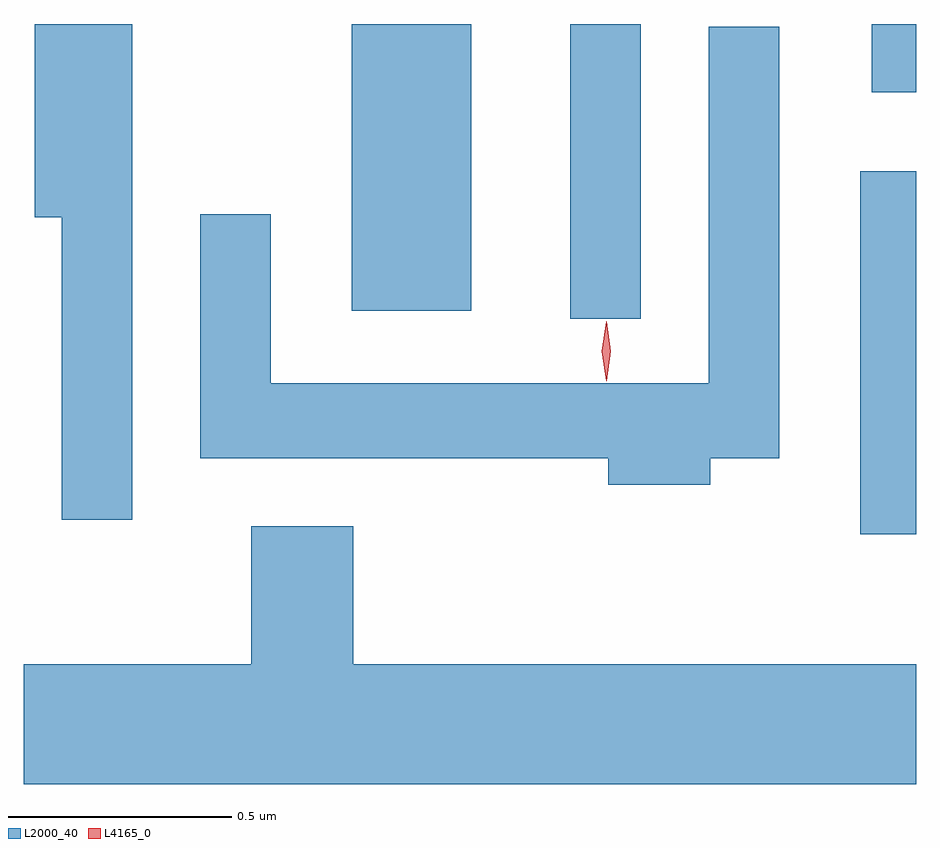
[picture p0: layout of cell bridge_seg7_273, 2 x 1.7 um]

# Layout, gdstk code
import gdstk
lib = gdstk.Library(unit=1e-6, precision=1e-09)
def R(c, l, rs):  # rectangles x0, y0, x1, y1
    for r in rs: c.add(gdstk.rectangle(r[:2], r[2:], *l))
def P(c, l, *ps):  # polygons
    for p in ps: c.add(gdstk.Polygon(p, *l))
L2000_40 = (2000, 40)
L4165_0 = (4165, 0)

bridge_seg7_273 = lib.new_cell('bridge_seg7_273')
R(bridge_seg7_273, L2000_40, [(1448.876,1761.496,1449.001,1762.309), (1448.226,1761.978,1448.384,1762.639), (1447.736,1761.996,1448.004,1762.639), (1448.901,1762.486,1449.001,1762.639)])
P(bridge_seg7_273, L2000_40, [(1447.244,1762.639),(1447.026,1762.639),(1447.026,1762.206),(1447.086,1762.206),(1447.086,1761.528),(1447.244,1761.528)],
  [(1448.539,1761.666),(1448.694,1761.666),(1448.694,1762.633),(1448.536,1762.633),(1448.536,1761.834),(1447.554,1761.834),(1447.554,1762.213),(1447.396,1762.213),(1447.396,1761.666),(1448.311,1761.666),(1448.311,1761.606),(1448.539,1761.606)],
  [(1449.001,1761.204),(1447.739,1761.204),(1447.739,1761.514),(1447.511,1761.514),(1447.511,1761.204),(1447.001,1761.204),(1447.001,1760.936),(1449.001,1760.936)])
P(bridge_seg7_273, L4165_0, [(1448.307,1761.839),(1448.306,1761.84),(1448.296,1761.906),(1448.306,1761.972),(1448.306,1761.973),(1448.307,1761.972),(1448.316,1761.906),(1448.307,1761.84)])

lib.write_gds('bridge_seg7_273.gds')
